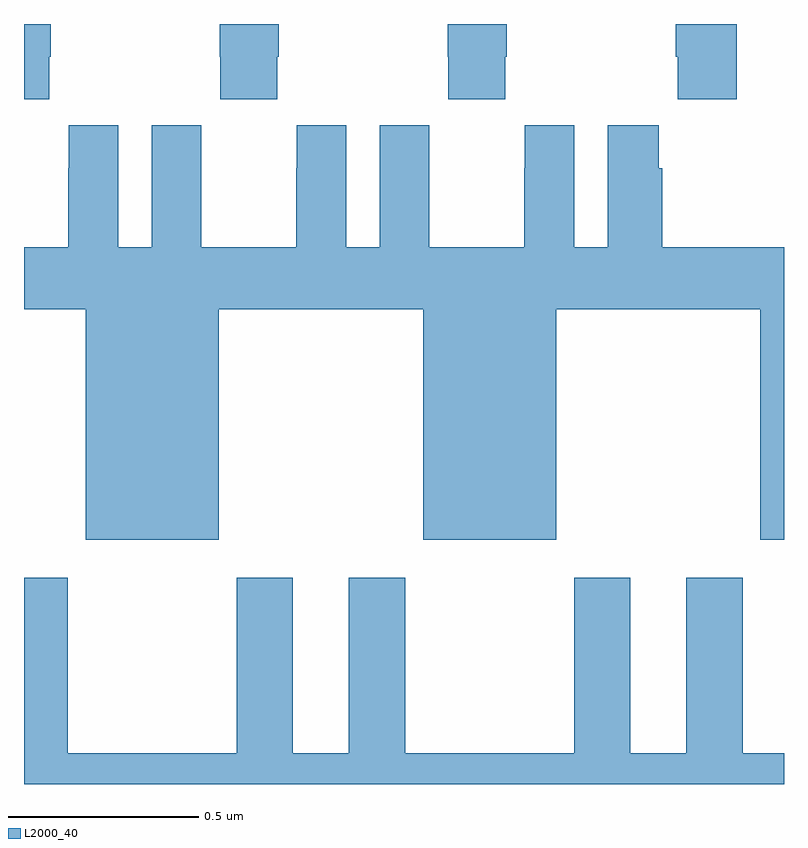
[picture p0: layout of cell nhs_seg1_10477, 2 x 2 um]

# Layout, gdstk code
import gdstk
lib = gdstk.Library(unit=1e-6, precision=1e-09)
def P(c, l, *ps):  # polygons
    for p in ps: c.add(gdstk.Polygon(p, *l))
L2000_40 = (2000, 40)

nhs_seg1_10477 = lib.new_cell('nhs_seg1_10477')
P(nhs_seg1_10477, L2000_40, [(242.667,503.113),(242.67,503.113),(242.67,503.199),(242.515,503.199),(242.515,503.113),(242.517,503.113),(242.517,503.001),(242.667,503.001)],
  [(243.267,503.113),(243.27,503.113),(243.27,503.199),(243.115,503.199),(243.115,503.113),(243.117,503.113),(243.117,503.001),(243.267,503.001)],
  [(243.875,503.199),(243.715,503.199),(243.715,503.113),(243.721,503.113),(243.721,503.001),(243.875,503.001)],
  [(242.067,503.113),(242.07,503.113),(242.07,503.199),(242,503.199),(242,503.001),(242.067,503.001)],
  [(242.512,502.448),(243.05,502.448),(243.05,501.842),(243.4,501.842),(243.4,502.448),(243.938,502.448),(243.938,501.842),(244,501.842),(244,502.612),(243.68,502.612),(243.68,502.82),(243.67,502.82),(243.67,502.933),(243.536,502.933),(243.536,502.612),(243.448,502.612),(243.448,502.933),(243.318,502.933),(243.318,502.82),(243.317,502.82),(243.317,502.612),(243.067,502.612),(243.067,502.82),(243.066,502.82),(243.066,502.933),(242.936,502.933),(242.936,502.612),(242.848,502.612),(242.848,502.933),(242.718,502.933),(242.718,502.82),(242.717,502.82),(242.717,502.612),(242.467,502.612),(242.467,502.82),(242.466,502.82),(242.466,502.933),(242.336,502.933),(242.336,502.612),(242.248,502.612),(242.248,502.933),(242.118,502.933),(242.118,502.82),(242.117,502.82),(242.117,502.612),(242,502.612),(242,502.448),(242.162,502.448),(242.162,501.842),(242.512,501.842)],
  [(244,501.28),(243.891,501.28),(243.891,501.742),(243.743,501.742),(243.743,501.28),(243.595,501.28),(243.595,501.742),(243.448,501.742),(243.448,501.28),(243.003,501.28),(243.003,501.742),(242.855,501.742),(242.855,501.28),(242.707,501.28),(242.707,501.742),(242.56,501.742),(242.56,501.28),(242.115,501.28),(242.115,501.742),(242,501.742),(242,501.199),(244,501.199)])

lib.write_gds('nhs_seg1_10477.gds')
